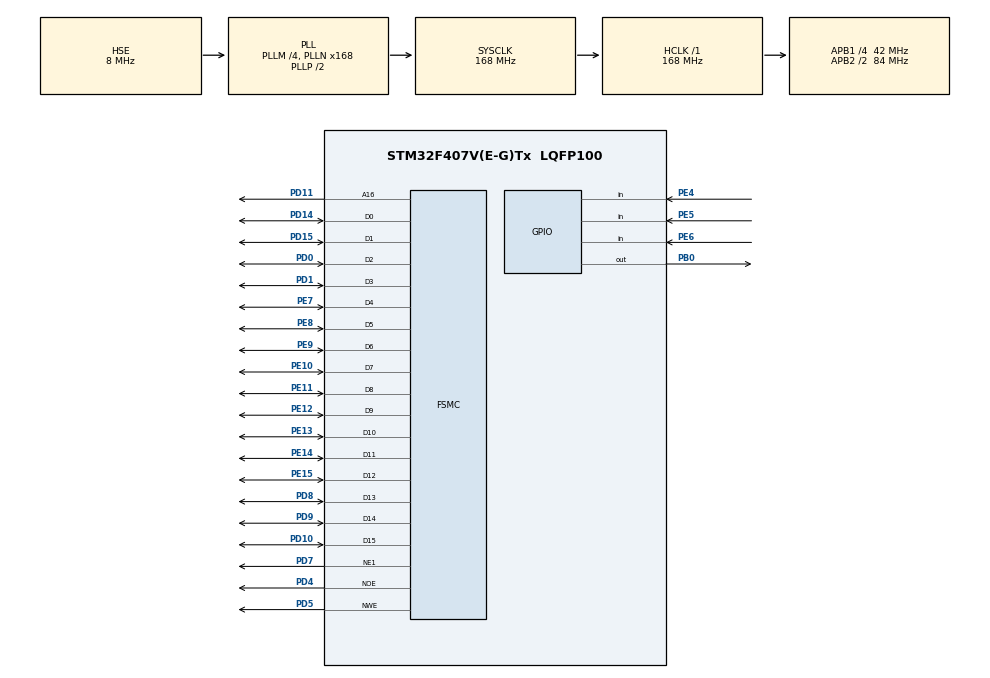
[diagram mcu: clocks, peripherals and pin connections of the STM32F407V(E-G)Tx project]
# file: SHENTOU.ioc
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Dma.MEMTOMEM.0.Direction=DMA_MEMORY_TO_MEMORY
Dma.MEMTOMEM.0.FIFOMode=DMA_FIFOMODE_ENABLE
Dma.MEMTOMEM.0.FIFOThreshold=DMA_FIFO_THRESHOLD_FULL
Dma.MEMTOMEM.0.Instance=DMA2_Stream0
Dma.MEMTOMEM.0.MemBurst=DMA_MBURST_SINGLE
Dma.MEMTOMEM.0.MemDataAlignment=DMA_MDATAALIGN_HALFWORD
Dma.MEMTOMEM.0.MemInc=DMA_MINC_DISABLE
Dma.MEMTOMEM.0.Mode=DMA_NORMAL
Dma.MEMTOMEM.0.PeriphBurst=DMA_PBURST_SINGLE
Dma.MEMTOMEM.0.PeriphDataAlignment=DMA_PDATAALIGN_HALFWORD
Dma.MEMTOMEM.0.PeriphInc=DMA_PINC_ENABLE
Dma.MEMTOMEM.0.Priority=DMA_PRIORITY_MEDIUM
Dma.Request0=MEMTOMEM
FSMC.ExtendedMode1=FSMC_EXTENDED_MODE_ENABLE
IWDG.Prescaler=IWDG_PRESCALER_8
Mcu.Family=STM32F4
Mcu.Name=STM32F407V(E-G)Tx
Mcu.Package=LQFP100
NVIC.DMA2_Stream0_IRQn=true\:0\:0\:false\:false\:true\:true\:true\:true
NVIC.PriorityGroup=NVIC_PRIORITYGROUP_4
PA13.Mode=Serial_Wire
PA13.Signal=SYS_JTMS-SWDIO
PA14.Mode=Serial_Wire
PA14.Signal=SYS_JTCK-SWCLK
PB0.Signal=GPIO_Output
PD0.Mode=16b-d1
PD0.Signal=FSMC_D2
PD1.Mode=16b-d1
PD1.Signal=FSMC_D3
PD10.Mode=16b-d1
PD10.Signal=FSMC_D15
PD11.Mode=A16_1
PD11.Signal=FSMC_A16
PD14.Mode=16b-d1
PD14.Signal=FSMC_D0
PD15.Mode=16b-d1
PD15.Signal=FSMC_D1
PD4.Mode=Lcd1
PD4.Signal=FSMC_NOE
PD5.Mode=Lcd1
PD5.Signal=FSMC_NWE
PD7.Mode=NorPsramChipSelect1_1
PD7.Signal=FSMC_NE1
PD8.Mode=16b-d1
PD8.Signal=FSMC_D13
PD9.Mode=16b-d1
PD9.Signal=FSMC_D14
PE10.Mode=16b-d1
PE10.Signal=FSMC_D7
PE11.Mode=16b-d1
PE11.Signal=FSMC_D8
PE12.Mode=16b-d1
PE12.Signal=FSMC_D9
PE13.Mode=16b-d1
PE13.Signal=FSMC_D10
PE14.Mode=16b-d1
PE14.Signal=FSMC_D11
PE15.Mode=16b-d1
PE15.Signal=FSMC_D12
PE4.Signal=GPIO_Input
PE5.Signal=GPIO_Input
PE6.Signal=GPIO_Input
PE7.Mode=16b-d1
PE7.Signal=FSMC_D4
PE8.Mode=16b-d1
PE8.Signal=FSMC_D5
PE9.Mode=16b-d1
PE9.Signal=FSMC_D6
PH0-OSC_IN.Mode=HSE-External-Oscillator
PH0-OSC_IN.Signal=RCC_OSC_IN
PH1-OSC_OUT.Mode=HSE-External-Oscillator
PH1-OSC_OUT.Signal=RCC_OSC_OUT
ProjectManager.HeapSize=0x1000
ProjectManager.StackSize=0x1000
ProjectManager.TargetToolchain=MDK-ARM V5.32
RCC.48MHZClocksFreq_Value=84000000
RCC.AHBFreq_Value=168000000
RCC.APB1CLKDivider=RCC_HCLK_DIV4
RCC.APB1Freq_Value=42000000
RCC.APB1TimFreq_Value=84000000
RCC.APB2CLKDivider=RCC_HCLK_DIV2
RCC.APB2Freq_Value=84000000
RCC.APB2TimFreq_Value=168000000
RCC.CortexFreq_Value=168000000
RCC.HCLKFreq_Value=168000000
RCC.HSE_VALUE=8000000
RCC.HSI_VALUE=16000000
RCC.LSE_VALUE=32768
RCC.PLLM=4
RCC.PLLN=168
RCC.PLLSourceVirtual=RCC_PLLSOURCE_HSE
RCC.SYSCLKFreq_VALUE=168000000
RCC.SYSCLKSource=RCC_SYSCLKSOURCE_PLLCLK
RCC.VCOOutputFreq_Value=336000000
VP_IWDG_VS_IWDG.Mode=IWDG_Activate
board=custom

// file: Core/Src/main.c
/* USER CODE BEGIN Header */
/**
  ******************************************************************************
  * @file           : main.c
  * @brief          : Main program body
  ******************************************************************************
  * @attention
  *
  * Copyright (c) 2024 STMicroelectronics.
  * All rights reserved.
  *
  * This software is licensed under terms that can be found in the LICENSE file
  * in the root directory of this software component.
  * If no LICENSE file comes with this software, it is provided AS-IS.
  *
  ******************************************************************************
  */
/* USER CODE END Header */
#include "main.h"
#include "dma.h"
#include "iwdg.h"
#include "gpio.h"
#include "fsmc.h"

/* USER CODE BEGIN Includes */
#include "LCD.h"
#include "touch.h"
#include "delay.h"
#include "24cxx.h"
#include "lvgl.h"
#include "lv_port_indev_template.h"
#include "lv_port_disp_template.h"
#include "lv_demo_stress.h"
#include "lv_demos.h"
#include "lv_demo_widgets.h"

/* USER CODE END Includes */

/* USER CODE BEGIN PTD */

int a = 0;

void lv_ex_label(void)
{
		char* github_addr = "hahahahahahahahah";
		lv_obj_t * label = lv_label_create(lv_scr_act());
    lv_label_set_recolor(label, true);
    lv_label_set_long_mode(label, LV_LABEL_LONG_SCROLL_CIRCULAR); /*Circular scroll*/
    lv_obj_set_width(label, 120);
    lv_label_set_text_fmt(label, "#ff0000 hahahahahahahahaha %s#", github_addr);
    lv_obj_align(label, LV_ALIGN_CENTER, 0, 10);

    lv_obj_t * label2 = lv_label_create(lv_scr_act());
    lv_label_set_recolor(label2, true);
    lv_label_set_long_mode(label2, LV_LABEL_LONG_SCROLL_CIRCULAR); /*Circular scroll*/
    lv_obj_set_width(label2, 120);
    lv_label_set_text_fmt(label2, "#ff0000 hahahahahahaha# #0000ff hahahahahahaha#");
    lv_obj_align(label2, LV_ALIGN_CENTER, 0, -10);
}

uint8_t key_scan(uint8_t mode)
{
    static uint8_t key_up = 1;  /* 按键按松开标志 */
    uint8_t keyval = 0;

    if (mode) key_up = 1;       /* 支持连按 */

    if (key_up && (KEY0 == 1 || KEY1 == 1 || KEY2 == 1))  /* 按键松开标志为1, 且有任意一个按键按下了 */
    {
        delay_ms(10);           /* 去抖动 */
        key_up = 0;

        if (KEY0 == 1)  keyval = KEY0_PRES;

        if (KEY1 == 1)  keyval = KEY1_PRES;

        if (KEY2 == 1)  keyval = KEY2_PRES;

    }
    else if (KEY0 ==0 && KEY1 == 0 && KEY2 == 0) /* 没有任何按键按下, 标记按键松开 */
    {
        key_up = 1;
    }

    return keyval;              /* 返回键值 */
}

/* USER CODE END PTD */

void SystemClock_Config(void);

int main(void)
{

  /* MCU Configuration--------------------------------------------------------*/

  /* Reset of all peripherals, Initializes the Flash interface and the Systick. */
  HAL_Init();

  /* Configure the system clock */
  SystemClock_Config();

  /* Initialize all configured peripherals */
  MX_GPIO_Init();
  MX_DMA_Init();
  MX_FSMC_Init();
  MX_IWDG_Init();
  /* USER CODE BEGIN 2 */
	HAL_IWDG_Refresh(&hiwdg);
	delay_init(168);
	lcd_init();
	tp_dev.init();
//    if (tp_dev.touchtype != 0XFF)
//    {
//        lcd_show_string(30, 110, 200, 16, 16, "Press KEY0 to Adjust", RED); /* 电阻屏才显示 */
//    }
	delay_ms(10);
lv_init();
		lv_port_disp_init();
		lv_port_indev_init();
//lv_ex_label();
lv_demo_widgets();
  /* USER CODE END 2 */

  /* Infinite loop */
  /* USER CODE BEGIN WHILE */
  while (1)
  {

			lv_task_handler();
	HAL_IWDG_Refresh(&hiwdg);
    /* USER CODE END WHILE */

  }
}

void SystemClock_Config(void)
{
  RCC_OscInitTypeDef RCC_OscInitStruct = {0};
  RCC_ClkInitTypeDef RCC_ClkInitStruct = {0};

  /** Configure the main internal regulator output voltage
  */
  __HAL_RCC_PWR_CLK_ENABLE();
  __HAL_PWR_VOLTAGESCALING_CONFIG(PWR_REGULATOR_VOLTAGE_SCALE1);

  /** Initializes the RCC Oscillators according to the specified parameters
  * in the RCC_OscInitTypeDef structure.
  */
  RCC_OscInitStruct.OscillatorType = RCC_OSCILLATORTYPE_LSI|RCC_OSCILLATORTYPE_HSE;
  RCC_OscInitStruct.HSEState = RCC_HSE_ON;
  RCC_OscInitStruct.LSIState = RCC_LSI_ON;
  RCC_OscInitStruct.PLL.PLLState = RCC_PLL_ON;
  RCC_OscInitStruct.PLL.PLLSource = RCC_PLLSOURCE_HSE;
  RCC_OscInitStruct.PLL.PLLM = 4;
  RCC_OscInitStruct.PLL.PLLN = 168;
  RCC_OscInitStruct.PLL.PLLP = RCC_PLLP_DIV2;
  RCC_OscInitStruct.PLL.PLLQ = 4;
  if (HAL_RCC_OscConfig(&RCC_OscInitStruct) != HAL_OK)
  {
    Error_Handler();
  }

  /** Initializes the CPU, AHB and APB buses clocks
  */
  RCC_ClkInitStruct.ClockType = RCC_CLOCKTYPE_HCLK|RCC_CLOCKTYPE_SYSCLK
                              |RCC_CLOCKTYPE_PCLK1|RCC_CLOCKTYPE_PCLK2;
  RCC_ClkInitStruct.SYSCLKSource = RCC_SYSCLKSOURCE_PLLCLK;
  RCC_ClkInitStruct.AHBCLKDivider = RCC_SYSCLK_DIV1;
  RCC_ClkInitStruct.APB1CLKDivider = RCC_HCLK_DIV4;
  RCC_ClkInitStruct.APB2CLKDivider = RCC_HCLK_DIV2;

  if (HAL_RCC_ClockConfig(&RCC_ClkInitStruct, FLASH_LATENCY_5) != HAL_OK)
  {
    Error_Handler();
  }
}

void Error_Handler(void)
{
  __disable_irq();
  while (1)
  {
  }
}
